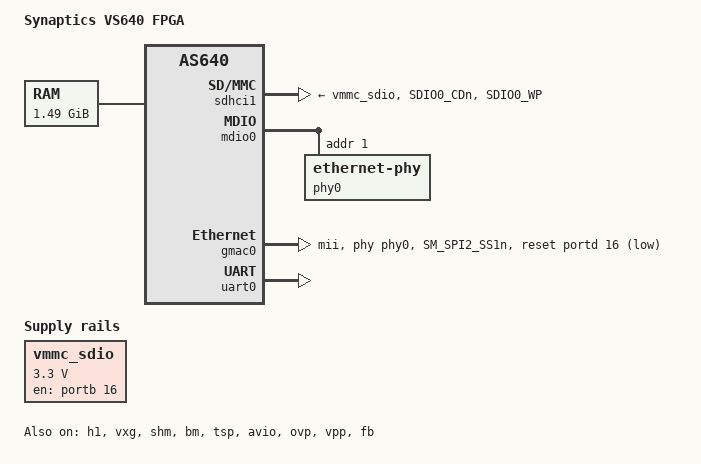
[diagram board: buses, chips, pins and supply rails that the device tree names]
// SPDX-License-Identifier: (GPL-2.0 OR MIT)
/*
 * Copyright (C) 2020 Synaptics Incorporated
 *
 * Author: Jisheng Zhang <jszhang@kernel.org>
 */

/dts-v1/;

/memreserve/ 0x63c00000 0x1c400000;

#include <dt-bindings/gpio/gpio.h>

#include "vs640.dtsi"

/ {
	model = "Synaptics VS640 FPGA";
	compatible = "syna,vs640-fpga", "syna,as640";

	chosen {
		bootargs = "maxcpus=1 cma=0x10000000@0x49c00000";
		stdout-path = "serial0:115200n8";
		linux,initrd-start = <0x08000000>;
		linux,initrd-end = <0x0807AF91>;
	};

	memory {
		device_type = "memory";
		reg = <0 0x04a00000 0 0x5f200000>;
	};

	ion {
		compatible = "syna,ion-berlin-heaps";
		pool-num = <2>;
		reg-names = "NonSecure-NC", "Secure";
		reg = <0 0x63c00000 0 0x01400000>,
		      <0 0x65000000 0 0x1b000000>;
		attributes-num-per-pool = <2>;
		pool-attributes = <0x00000105 0x00000F3A 0x00000102 0x00000F3D>;
	};

	regulators {
		compatible = "simple-bus";
		#address-cells = <1>;
		#size-cells = <0>;

		vmmc_sdio: vmmc_sdio {
			compatible = "regulator-fixed";
			regulator-min-microvolt = <3300000>;
			regulator-max-microvolt = <3300000>;
			regulator-name = "vmmc_sdio";
			enable-active-high;
			regulator-boot-on;
			gpio = <&portb 16 GPIO_ACTIVE_HIGH>;
		};
	};
};

&CPU_SLEEP_0 {
	status = "disabled";
};

&pinctrl {
	sdio_pmux: sdio-pmux {
		groups = "SDIO0_CDn";
		function = "sdio";
	};

	sdio_gpio_pmux: sdio_gpio-pmux {
		groups = "SDIO0_WP";
		function = "gpio";
	};
};

&sm_pinctrl {
	gmac0_pmux: gmac0-pmux {
		groups = "SM_SPI2_SS1n";
		function = "gpio";
	};
};

&sdhci1 {
	status = "okay";
	wp-inverted;
	no-1-8-v;
	vmmc-supply = <&vmmc_sdio>;
	pinctrl-0 = <&sdio_pmux>, <&sdio_gpio_pmux>;
	pinctrl-names = "default";
};

&mdio0 {
	phy0: ethernet-phy@1 {
		reg = <1>;
		max-speed = <100>;
	};
};

&gmac0 {
	status = "okay";
	pinctrl-names = "default";
	pinctrl-0 = <&gmac0_pmux>;
	phy-handle = <&phy0>;
	phy-mode = "mii";
	snps,reset-gpio = <&portd 16 GPIO_ACTIVE_LOW>;
	snps,reset-delays-us = <0 10000 0>;
};

&uart0 {
	status = "okay";
};

&h1 {
	status = "okay";
};

&vxg {
	status = "okay";
};

&shm {
	status = "okay";
};

&bm {
	status = "okay";
};

&tsp {
	status = "okay";
};

&avio {
	status = "okay";
};

&ovp {
	status = "okay";
};

&vpp {
	status = "okay";
};

&fb {
	status = "okay";
};
